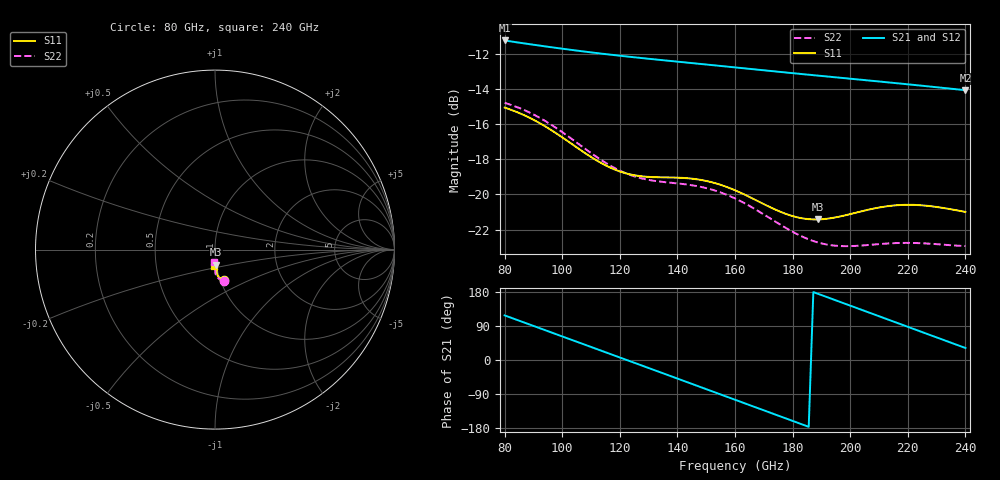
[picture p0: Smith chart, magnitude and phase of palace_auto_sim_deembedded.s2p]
! Created with skrf 1.11.0 (http://scikit-rf.org).
# GHz S DB R 50.0
!freq dBS11 angS11 dBS21 angS21 dBS12 angS12 dBS22 angS22
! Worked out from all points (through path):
!   101 points, 80 GHz to 240 GHz, reference 50 ohm
!   highest |S21| = -11.24 dB at 80 GHz (marker M1); lowest = -14.1 dB at 240 GHz (marker M2)
!   group delay of S21, straight-line fit = 7.75 ps
!   lowest |S11| = -21.4 dB at 188.8 GHz (marker M3), VSWR 1.19, Z = 49.6 - j8.48 ohm
!   |S11| at or under -10 dB: start of sweep to end of sweep
!   |S22| runs from -22.9 to -14.8 dB; largest |S21 - S12| = 3.6e-14
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80  -15.06 -74.4  -11.24 117.8  -11.24 117.8  -14.79 -74.2
86.4  -15.46 -77.8  -11.40 100.0  -11.40 100.0  -15.17 -78.2
92.8  -16.00 -81.2  -11.55 82.2  -11.55 82.2  -15.70 -82.2
99.2  -16.66 -84.0  -11.69 64.5  -11.69 64.5  -16.36 -85.6
107.2  -17.56 -85.8  -11.86 42.2  -11.86 42.2  -17.31 -88.5
113.6  -18.22 -85.7  -11.99 24.5  -11.99 24.5  -18.04 -89.3
120  -18.69 -84.8  -12.11 6.7  -12.11 6.7  -18.64 -89.1
126.4  -18.94 -83.7  -12.22 -11.1  -12.22 -11.1  -19.03 -88.5
134.4  -19.02 -83.5  -12.36 -33.4  -12.36 -33.4  -19.27 -88.4
147.2  -19.15 -86.6  -12.56 -69.1  -12.56 -69.1  -19.54 -91.5
153.6  -19.38 -89.0  -12.67 -87.0  -12.67 -87.0  -19.81 -94.1
160  -19.76 -91.1  -12.77 -104.9  -12.77 -104.9  -20.22 -96.7
166.4  -20.25 -92.3  -12.88 -122.7  -12.88 -122.7  -20.78 -98.8
174.4  -20.89 -92.0  -13.01 -145.1  -13.01 -145.1  -21.58 -99.8
180.8  -21.26 -90.4  -13.11 -162.9  -13.11 -162.9  -22.19 -99.1
187.2  -21.42 -88.2  -13.22 179.2  -13.22 179.2  -22.65 -97.3
188.8  -21.42 -87.7  -13.24 174.8  -13.24 174.8  -22.73 -96.7
200  -21.12 -85.6  -13.42 143.5  -13.42 143.5  -22.94 -93.3
208  -20.81 -86.4  -13.54 121.1  -13.54 121.1  -22.85 -92.4
214.4  -20.64 -88.0  -13.64 103.2  -13.64 103.2  -22.77 -92.6
227.2  -20.65 -92.2  -13.85 67.5  -13.85 67.5  -22.79 -94.1
240  -20.99 -95.1  -14.07 31.7  -14.07 31.7  -22.93 -95.1
